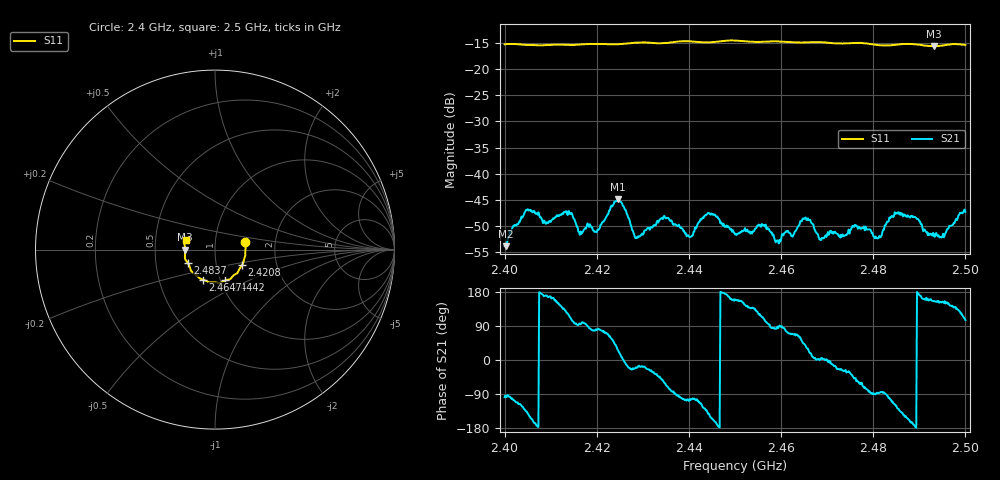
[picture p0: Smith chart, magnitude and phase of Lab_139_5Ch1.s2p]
# Hz S RI R 50
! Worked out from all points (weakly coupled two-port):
!   601 points, 2.4 GHz to 2.5 GHz, reference 50 ohm
!   highest |S21| = -44.92 dB at 2.4245 GHz (marker M1); lowest = -53.9 dB at 2.4003 GHz (marker M2)
!   lowest |S11| = -15.6 dB at 2.4932 GHz (marker M3), VSWR 1.40, Z = 35.8 - j0.0872 ohm
!   |S11| at or under -10 dB: start of sweep to end of sweep
!   S12 and S22 are empty: the file has one direction only
!   S11 on the Smith chart (normalised r, x): 2.4 GHz: 1.40, +0.12; 2.4208 GHz: 1.33, -0.24; 2.4442 GHz: 1.05, -0.37; 2.4647 GHz: 0.83, -0.29; 2.4837 GHz: 0.73, -0.11; 2.5 GHz: 0.72, +0.08
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2.4e9  0.1679 0.0411  -0.000288 -0.00202  0 0  0 0
2.400333e9  0.1689 0.0396  -0.000279 -0.00201  0 0  0 0
2.405e9  0.1704 0.00933  -0.00357 -0.00288  0 0  0 0
2.414333e9  0.1619 -0.0526  -0.00147 0.00384  0 0  0 0
2.416667e9  0.1589 -0.0683  -0.000347 0.00263  0 0  0 0
2.420833e9  0.1507 -0.087  0.000635 0.0032  0 0  0 0
2.4245e9  0.1377 -0.1055  0.00501 0.00267  0 0  0 0
2.428667e9  0.1279 -0.1261  0.00231 -0.000864  0 0  0 0
2.433333e9  0.108 -0.1402  0.0025 -0.00231  0 0  0 0
2.440333e9  0.0807 -0.1663  -0.000674 -0.00239  0 0  0 0
2.444167e9  0.0568 -0.1713  -0.00333 -0.0026  0 0  0 0
2.45e9  0.0245 -0.1865  -0.00247 0.000891  0 0  0 0
2.456167e9  -0.015 -0.182  -0.00109 0.00302  0 0  0 0
2.459333e9  -0.0324 -0.1816  0.000248 0.00228  0 0  0 0
2.464667e9  -0.0672 -0.167  0.00256 0.0027  0 0  0 0
2.466667e9  -0.08 -0.1628  0.0033 0.000626  0 0  0 0
2.468667e9  -0.0884 -0.1582  0.00231 0.000165  0 0  0 0
2.480667e9  -0.1388 -0.0994  8.44e-05 -0.00241  0 0  0 0
2.483333e9  -0.1506 -0.0762  -0.000617 -0.00344  0 0  0 0
2.483667e9  -0.1522 -0.0734  -0.000901 -0.00366  0 0  0 0
2.493167e9  -0.1659 -0.00119  -0.0023 0.00109  0 0  0 0
2.5e9  -0.1624 0.0526  -0.00115 0.00416  0 0  0 0
